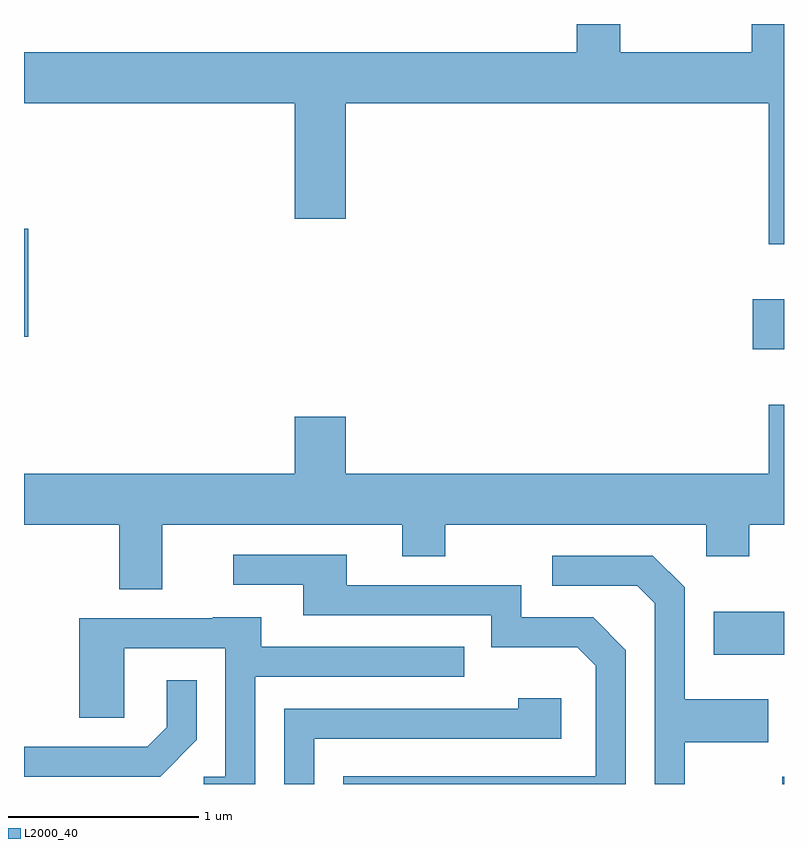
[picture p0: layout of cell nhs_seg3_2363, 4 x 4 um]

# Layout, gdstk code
import gdstk
lib = gdstk.Library(unit=1e-6, precision=1e-09)
def R(c, l, rs):  # rectangles x0, y0, x1, y1
    for r in rs: c.add(gdstk.rectangle(r[:2], r[2:], *l))
def P(c, l, *ps):  # polygons
    for p in ps: c.add(gdstk.Polygon(p, *l))
L2000_40 = (2000, 40)

nhs_seg3_2363 = lib.new_cell('nhs_seg3_2363')
R(nhs_seg3_2363, L2000_40, [(257.603,1217.892,257.611,1217.929), (257.241,1218.571,257.611,1218.799), (257.446,1220.181,257.611,1220.444), (253.611,1220.246,253.634,1220.814)])
P(nhs_seg3_2363, L2000_40, [(257.611,1221.892),(257.441,1221.892),(257.441,1221.744),(256.749,1221.744),(256.749,1221.892),(256.521,1221.892),(256.521,1221.744),(253.611,1221.744),(253.611,1221.476),(255.036,1221.476),(255.036,1220.866),(255.304,1220.866),(255.304,1221.476),(257.531,1221.476),(257.531,1220.733),(257.611,1220.733)],
  [(254.339,1219.256),(255.601,1219.256),(255.601,1219.091),(255.829,1219.091),(255.829,1219.256),(257.201,1219.256),(257.201,1219.091),(257.429,1219.091),(257.429,1219.256),(257.611,1219.256),(257.611,1219.888),(257.531,1219.888),(257.531,1219.524),(255.304,1219.524),(255.304,1219.824),(255.036,1219.824),(255.036,1219.524),(253.611,1219.524),(253.611,1219.256),(254.111,1219.256),(254.111,1218.916),(254.339,1218.916)],
  [(256.779,1218.597),(256.606,1218.769),(256.229,1218.769),(256.229,1218.939),(255.309,1218.939),(255.309,1219.099),(254.713,1219.099),(254.713,1218.941),(255.081,1218.941),(255.081,1218.781),(256.071,1218.781),(256.071,1218.611),(256.524,1218.611),(256.621,1218.514),(256.621,1217.934),(255.291,1217.934),(255.291,1217.892),(256.779,1217.892)],
  [(257.089,1218.111),(257.529,1218.111),(257.529,1218.339),(257.089,1218.339),(257.089,1218.927),(256.921,1219.094),(256.392,1219.094),(256.392,1218.936),(256.839,1218.936),(256.931,1218.844),(256.931,1217.892),(257.089,1217.892)],
  [(254.829,1218.456),(255.928,1218.456),(255.928,1218.614),(254.859,1218.614),(254.859,1218.769),(254.605,1218.769),(254.605,1218.764),(253.901,1218.764),(253.901,1218.241),(254.139,1218.241),(254.139,1218.606),(254.671,1218.606),(254.671,1217.929),(254.558,1217.929),(254.558,1217.892),(254.829,1217.892)],
  [(254.519,1218.124),(254.519,1218.438),(254.361,1218.438),(254.361,1218.192),(254.259,1218.089),(253.611,1218.089),(253.611,1217.931),(254.327,1217.931)],
  [(255.139,1218.131),(256.439,1218.131),(256.439,1218.344),(256.211,1218.344),(256.211,1218.289),(254.981,1218.289),(254.981,1217.892),(255.139,1217.892)])

lib.write_gds('nhs_seg3_2363.gds')
